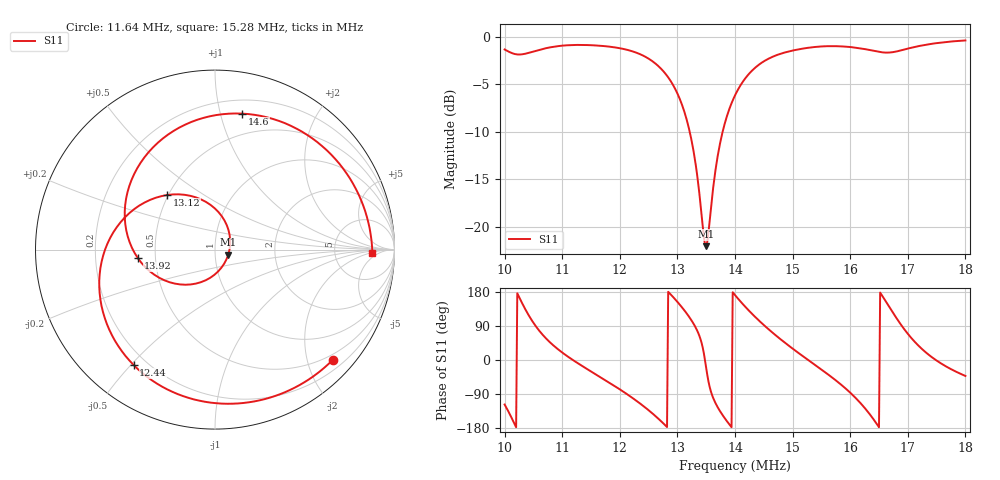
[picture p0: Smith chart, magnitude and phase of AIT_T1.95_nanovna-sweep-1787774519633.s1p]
! NanoVNA Web complex sweep
! Processing: original sample grid, no browser smoothing
# Hz S RI R 50
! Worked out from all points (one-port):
!   401 points, 10 MHz to 18 MHz, reference 50 ohm
!   lowest |S11| = -22.0 dB at 13.5 MHz (marker M1), VSWR 1.17, Z = 57.9 - j3.33 ohm
!   |S11| at or under -10 dB: 13.21 MHz to 13.78 MHz (571 kHz wide, 4.23 % of centre)
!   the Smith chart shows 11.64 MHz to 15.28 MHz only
!   S11 on the Smith chart (normalised r, x): 11.64 MHz: 0.39, -2.48; 12.44 MHz: 0.15, -0.51; 13.12 MHz: 0.49, +0.36; 13.92 MHz: 0.40, -0.05; 14.6 MHz: 0.31, +1.17; 15.28 MHz: 15, -2
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1e7  -0.396 -0.7615
1.022e7  -0.8065 0.0545
1.048e7  -0.1851 0.8131
1.074e7  0.5179 0.7049
1.1e7  0.846 0.3036
1.13e7  0.8896 -0.1778
1.164e7  0.6558 -0.6148
1.2e7  0.1892 -0.8506
1.244e7  -0.4534 -0.6429
1.274e7  -0.6449 -0.1736
1.3e7  -0.4503 0.2253
1.312e7  -0.2659 0.3043
1.35e7  0.0737 -0.0286
1.372e7  -0.1645 -0.1957
1.392e7  -0.4291 -0.0485
1.4e7  -0.4864 0.074
1.426e7  -0.3929 0.5144
1.46e7  0.1494 0.7576
1.5e7  0.7328 0.4248
1.528e7  0.8767 -0.0171
1.564e7  0.6759 -0.5848
1.6e7  0.0598 -0.8834
1.626e7  -0.5303 -0.6791
1.652e7  -0.8312 0.0291
1.678e7  -0.3655 0.7507
1.7e7  0.3075 0.8111
1.74e7  0.9051 0.151
1.8e7  0.7106 -0.6418
